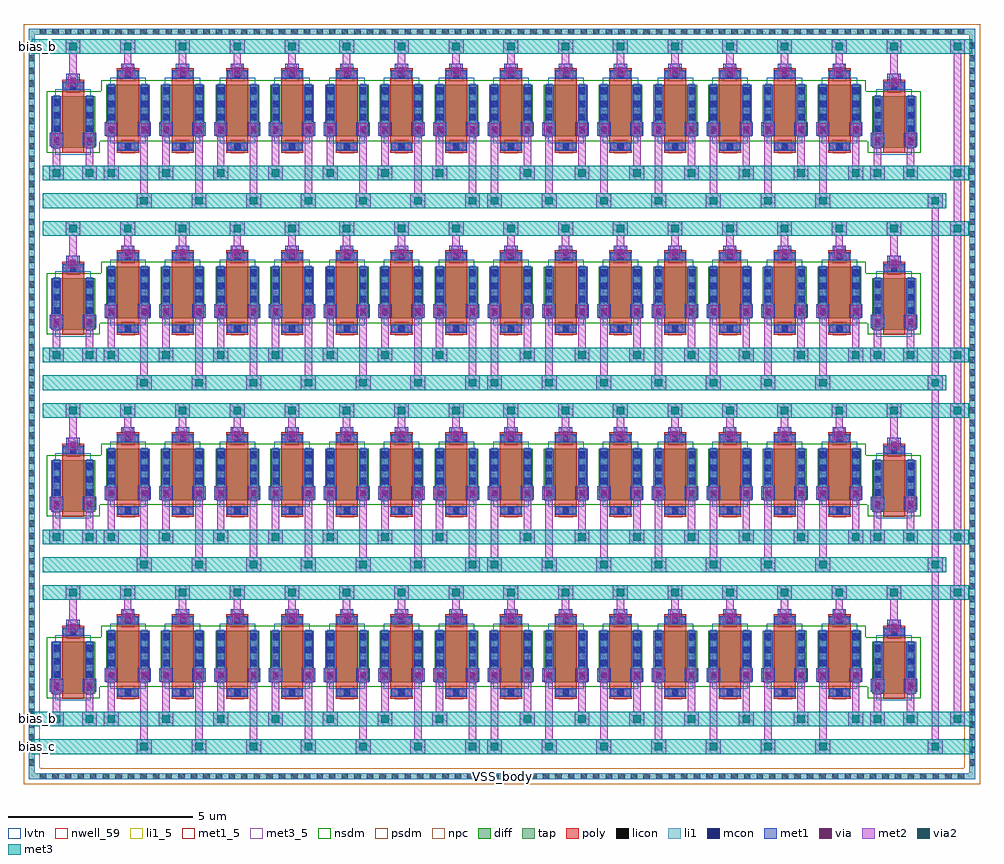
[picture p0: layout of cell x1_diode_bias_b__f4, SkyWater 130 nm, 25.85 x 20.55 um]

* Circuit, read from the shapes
.subckt x1_diode_bias_b__f4 VSS_body bias_b bias_c
XM1 bias_b bias_b bias_b VSS_body sky130_fd_pr__nfet_01v8_lvt w=1.4 l=0.6 m=8
XM2 bias_c bias_b bias_b VSS_body sky130_fd_pr__nfet_01v8_lvt w=1.4 l=0.6 m=56
.ends

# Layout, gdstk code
from math import pi, radians
import gdstk
lib = gdstk.Library(unit=1e-6, precision=1e-09)
def R(c, l, rs):  # rectangles x0, y0, x1, y1
    for r in rs: c.add(gdstk.rectangle(r[:2], r[2:], *l))
def A(c, l, x, y, w, h, nx, ny, dx, dy):  # array of equal rectangles
    R(c, l, [(x+i*dx, y+j*dy, x+i*dx+w, y+j*dy+h) for i in range(nx) for j in range(ny)])
nwell_59 = (64, 59)
diff = (65, 20)
tap = (65, 44)
poly = (66, 20)
licon = (66, 44)
li1_5 = (67, 5)
li1 = (67, 20)
mcon = (67, 44)
met1_5 = (68, 5)
met1 = (68, 20)
via = (68, 44)
met2 = (69, 20)
via2 = (69, 44)
met3_5 = (70, 5)
met3 = (70, 20)
nsdm = (93, 44)
psdm = (94, 20)
npc = (95, 20)
lvtn = (125, 44)

sky130_fd_pr__nfet_01v8_ = lib.new_cell('sky130_fd_pr__nfet_01v8_lvt_RUA5M6')
R(sky130_fd_pr__nfet_01v8_, diff, [(-0.59,-0.855,0.59,0.545)])
R(sky130_fd_pr__nfet_01v8_, poly, [(-0.3,-0.985,0.3,0.985)])
A(sky130_fd_pr__nfet_01v8_, licon, -0.53, -0.75, 0.17, 0.17, 1, 4, 0, 0.34)
A(sky130_fd_pr__nfet_01v8_, licon, 0.36, -0.75, 0.17, 0.17, 1, 4, 0, 0.34)
R(sky130_fd_pr__nfet_01v8_, licon, [(-0.085,0.735,0.085,0.905)])
R(sky130_fd_pr__nfet_01v8_, li1, [(-0.53,-0.875,-0.36,0.565), (0.36,-0.875,0.53,0.565), (-0.3,0.735,0.3,0.905)])
A(sky130_fd_pr__nfet_01v8_, mcon, -0.53, -0.78, 0.17, 0.17, 1, 4, 0, 0.36)
A(sky130_fd_pr__nfet_01v8_, mcon, 0.36, -0.78, 0.17, 0.17, 1, 4, 0, 0.36)
R(sky130_fd_pr__nfet_01v8_, mcon, [(-0.085,0.735,0.085,0.905)])
R(sky130_fd_pr__nfet_01v8_, met1, [(-0.56,-0.855,-0.33,0.545), (0.33,-0.855,0.56,0.545), (-0.28,0.705,0.28,0.935)])
R(sky130_fd_pr__nfet_01v8_, nsdm, [(-0.715,-0.98,0.715,0.67)])
R(sky130_fd_pr__nfet_01v8_, npc, [(-0.185,0.635,0.185,1.005)])
R(sky130_fd_pr__nfet_01v8_, lvtn, [(-0.48,-1.035,0.48,0.725)])
sky130_fd_pr__nfet_01v8_.add(gdstk.Label('D', (-0.445,-0.155), layer=67, texttype=5))
sky130_fd_pr__nfet_01v8_.add(gdstk.Label('S', (0.445,-0.155), layer=67, texttype=5))
sky130_fd_pr__nfet_01v8_.add(gdstk.Label('G', (0,0.82), layer=67, texttype=5))

nfet_01v8_lvt_w1p4_l0p6_ = lib.new_cell('nfet_01v8_lvt_W1p4_L0p6_m8__nf1_gtop_sdfull_ng')
R(nfet_01v8_lvt_w1p4_l0p6_, nwell_59, [(0.05,0.78,0.15,0.88)])
R(nfet_01v8_lvt_w1p4_l0p6_, met1_5, [(0.03,0.83,0.26,1.03), (0.92,0.83,1.15,1.03), (0.31,1.69,0.87,1.92)])
R(nfet_01v8_lvt_w1p4_l0p6_, met1, [(0.03,0.83,0.26,1.03), (0.92,0.83,1.15,1.03), (0.31,1.69,0.87,1.92)])
nfet_01v8_lvt_w1p4_l0p6_.add(gdstk.Reference(sky130_fd_pr__nfet_01v8_, (0.59,0.985)))
nfet_01v8_lvt_w1p4_l0p6_.add(gdstk.Label('D', (0.145,0.93), layer=68, texttype=5))
nfet_01v8_lvt_w1p4_l0p6_.add(gdstk.Label('S', (1.035,0.93), layer=68, texttype=5))
nfet_01v8_lvt_w1p4_l0p6_.add(gdstk.Label('G', (0.59,1.805), layer=68, texttype=5))
nfet_01v8_lvt_w1p4_l0p6_.add(gdstk.Label('B', (0.1,0.83), layer=64, texttype=59))

c_sky130_fd_pr__nfet_01v8_ = lib.new_cell('sky130_fd_pr__nfet_01v8_lvt_KCM6UP')
R(c_sky130_fd_pr__nfet_01v8_, diff, [(-0.59,-0.7,0.59,0.7)])
R(c_sky130_fd_pr__nfet_01v8_, poly, [(-0.3,-1.14,0.3,1.14)])
A(c_sky130_fd_pr__nfet_01v8_, licon, -0.53, -0.595, 0.17, 0.17, 1, 4, 0, 0.34)
A(c_sky130_fd_pr__nfet_01v8_, licon, 0.36, -0.595, 0.17, 0.17, 1, 4, 0, 0.34)
R(c_sky130_fd_pr__nfet_01v8_, licon, [(-0.085,-1.06,0.085,-0.89), (-0.085,0.89,0.085,1.06)])
R(c_sky130_fd_pr__nfet_01v8_, li1, [(-0.3,-1.06,0.3,-0.89), (-0.53,-0.72,-0.36,0.72), (0.36,-0.72,0.53,0.72), (-0.3,0.89,0.3,1.06)])
A(c_sky130_fd_pr__nfet_01v8_, mcon, -0.53, -0.625, 0.17, 0.17, 1, 4, 0, 0.36)
A(c_sky130_fd_pr__nfet_01v8_, mcon, 0.36, -0.625, 0.17, 0.17, 1, 4, 0, 0.36)
R(c_sky130_fd_pr__nfet_01v8_, mcon, [(-0.085,-1.06,0.085,-0.89), (-0.085,0.89,0.085,1.06)])
R(c_sky130_fd_pr__nfet_01v8_, met1, [(-0.28,-1.09,0.28,-0.86), (-0.56,-0.7,-0.33,0.7), (0.33,-0.7,0.56,0.7), (-0.28,0.86,0.28,1.09)])
R(c_sky130_fd_pr__nfet_01v8_, nsdm, [(-0.715,-0.825,0.715,0.825)])
R(c_sky130_fd_pr__nfet_01v8_, npc, [(-0.185,-1.16,0.185,-0.79), (-0.185,0.79,0.185,1.16)])
R(c_sky130_fd_pr__nfet_01v8_, lvtn, [(-0.48,-0.88,0.48,0.88)])
c_sky130_fd_pr__nfet_01v8_.add(gdstk.Label('D', (-0.445,0), layer=67, texttype=5))
c_sky130_fd_pr__nfet_01v8_.add(gdstk.Label('S', (0.445,0), layer=67, texttype=5))
c_sky130_fd_pr__nfet_01v8_.add(gdstk.Label('G', (0,0.975), layer=67, texttype=5))

c_nfet_01v8_lvt_w1p4_l0p6_ = lib.new_cell('nfet_01v8_lvt_W1p4_L0p6_m56__nf1_gboth_sdfull_ng')
R(c_nfet_01v8_lvt_w1p4_l0p6_, nwell_59, [(0.05,1.09,0.15,1.19)])
R(c_nfet_01v8_lvt_w1p4_l0p6_, met1_5, [(0.03,1.14,0.26,1.34), (0.92,1.14,1.15,1.34), (0.31,2,0.87,2.23)])
R(c_nfet_01v8_lvt_w1p4_l0p6_, met1, [(0.03,1.14,0.26,1.34), (0.92,1.14,1.15,1.34), (0.31,2,0.87,2.23)])
c_nfet_01v8_lvt_w1p4_l0p6_.add(gdstk.Reference(c_sky130_fd_pr__nfet_01v8_, (0.59,1.14)))
c_nfet_01v8_lvt_w1p4_l0p6_.add(gdstk.Label('D', (0.145,1.24), layer=68, texttype=5))
c_nfet_01v8_lvt_w1p4_l0p6_.add(gdstk.Label('S', (1.035,1.24), layer=68, texttype=5))
c_nfet_01v8_lvt_w1p4_l0p6_.add(gdstk.Label('G', (0.59,2.115), layer=68, texttype=5))
c_nfet_01v8_lvt_w1p4_l0p6_.add(gdstk.Label('B', (0.1,1.14), layer=64, texttype=59))

x1_diode_bias_b__f4 = lib.new_cell('x1_diode_bias_b__f4')
R(x1_diode_bias_b__f4, tap, [(-0.485,-2.185,25.115,-2.015), (-0.485,-2.015,-0.315,17.945), (24.945,-2.015,25.115,17.945), (-0.485,17.945,25.115,18.115)])
A(x1_diode_bias_b__f4, licon, -0.18, -2.185, 0.17, 0.17, 74, 2, 0.34, 20.13)
A(x1_diode_bias_b__f4, licon, -0.485, -1.81, 0.17, 0.17, 1, 58, 0, 0.34)
A(x1_diode_bias_b__f4, licon, 24.945, -1.81, 0.17, 0.17, 1, 58, 0, 0.34)
R(x1_diode_bias_b__f4, li1_5, [(12.265,-2.15,12.365,-2.05)])
R(x1_diode_bias_b__f4, li1, [(-0.485,-2.185,25.115,-2.015), (-0.485,-2.015,-0.315,17.945), (24.945,-2.015,25.115,17.945), (-0.485,17.945,25.115,18.115)])
A(x1_diode_bias_b__f4, met1, 0.09, 0.18, 0.36, 0.36, 1, 4, 0, 4.92)
A(x1_diode_bias_b__f4, met1, 0.98, 0.18, 0.36, 0.36, 1, 4, 0, 4.92)
A(x1_diode_bias_b__f4, met1, 22.29, 0.18, 0.36, 0.36, 1, 4, 0, 4.92)
A(x1_diode_bias_b__f4, met1, 23.18, 0.18, 0.36, 0.36, 1, 4, 0, 4.92)
A(x1_diode_bias_b__f4, met1, 1.57, 0.46, 0.36, 0.36, 1, 4, 0, 4.92)
A(x1_diode_bias_b__f4, met1, 2.46, 0.46, 0.36, 0.36, 1, 4, 0, 4.92)
A(x1_diode_bias_b__f4, met1, 3.05, 0.46, 0.36, 0.36, 1, 4, 0, 4.92)
A(x1_diode_bias_b__f4, met1, 3.94, 0.46, 0.36, 0.36, 1, 4, 0, 4.92)
A(x1_diode_bias_b__f4, met1, 4.53, 0.46, 0.36, 0.36, 1, 4, 0, 4.92)
A(x1_diode_bias_b__f4, met1, 5.42, 0.46, 0.36, 0.36, 1, 4, 0, 4.92)
A(x1_diode_bias_b__f4, met1, 6.01, 0.46, 0.36, 0.36, 1, 4, 0, 4.92)
A(x1_diode_bias_b__f4, met1, 6.9, 0.46, 0.36, 0.36, 1, 4, 0, 4.92)
A(x1_diode_bias_b__f4, met1, 7.49, 0.46, 0.36, 0.36, 1, 4, 0, 4.92)
A(x1_diode_bias_b__f4, met1, 8.38, 0.46, 0.36, 0.36, 1, 4, 0, 4.92)
A(x1_diode_bias_b__f4, met1, 8.97, 0.46, 0.36, 0.36, 1, 4, 0, 4.92)
A(x1_diode_bias_b__f4, met1, 9.86, 0.46, 0.36, 0.36, 1, 4, 0, 4.92)
A(x1_diode_bias_b__f4, met1, 10.45, 0.46, 0.36, 0.36, 1, 4, 0, 4.92)
A(x1_diode_bias_b__f4, met1, 11.34, 0.46, 0.36, 0.36, 1, 4, 0, 4.92)
A(x1_diode_bias_b__f4, met1, 11.93, 0.46, 0.36, 0.36, 1, 4, 0, 4.92)
A(x1_diode_bias_b__f4, met1, 12.82, 0.46, 0.36, 0.36, 1, 4, 0, 4.92)
A(x1_diode_bias_b__f4, met1, 13.41, 0.46, 0.36, 0.36, 1, 4, 0, 4.92)
A(x1_diode_bias_b__f4, met1, 14.3, 0.46, 0.36, 0.36, 1, 4, 0, 4.92)
A(x1_diode_bias_b__f4, met1, 14.89, 0.46, 0.36, 0.36, 1, 4, 0, 4.92)
A(x1_diode_bias_b__f4, met1, 15.78, 0.46, 0.36, 0.36, 1, 4, 0, 4.92)
A(x1_diode_bias_b__f4, met1, 16.37, 0.46, 0.36, 0.36, 1, 4, 0, 4.92)
A(x1_diode_bias_b__f4, met1, 17.26, 0.46, 0.36, 0.36, 1, 4, 0, 4.92)
A(x1_diode_bias_b__f4, met1, 17.85, 0.46, 0.36, 0.36, 1, 4, 0, 4.92)
A(x1_diode_bias_b__f4, met1, 18.74, 0.46, 0.36, 0.36, 1, 4, 0, 4.92)
A(x1_diode_bias_b__f4, met1, 19.33, 0.46, 0.36, 0.36, 1, 4, 0, 4.92)
A(x1_diode_bias_b__f4, met1, 20.22, 0.46, 0.36, 0.36, 1, 4, 0, 4.92)
A(x1_diode_bias_b__f4, met1, 20.81, 0.46, 0.36, 0.36, 1, 4, 0, 4.92)
A(x1_diode_bias_b__f4, met1, 21.7, 0.46, 0.36, 0.36, 1, 4, 0, 4.92)
A(x1_diode_bias_b__f4, met1, 0.535, 1.77, 0.36, 0.36, 1, 4, 0, 4.92)
A(x1_diode_bias_b__f4, met1, 22.735, 1.77, 0.36, 0.36, 1, 4, 0, 4.92)
A(x1_diode_bias_b__f4, met1, 2.015, 2.05, 0.36, 0.36, 14, 4, 1.48, 4.92)
A(x1_diode_bias_b__f4, via, 0.195, 0.285, 0.15, 0.15, 1, 4, 0, 4.92)
A(x1_diode_bias_b__f4, via, 1.085, 0.285, 0.15, 0.15, 1, 4, 0, 4.92)
A(x1_diode_bias_b__f4, via, 22.395, 0.285, 0.15, 0.15, 1, 4, 0, 4.92)
A(x1_diode_bias_b__f4, via, 23.285, 0.285, 0.15, 0.15, 1, 4, 0, 4.92)
A(x1_diode_bias_b__f4, via, 1.675, 0.565, 0.15, 0.15, 1, 4, 0, 4.92)
A(x1_diode_bias_b__f4, via, 2.565, 0.565, 0.15, 0.15, 1, 4, 0, 4.92)
A(x1_diode_bias_b__f4, via, 3.155, 0.565, 0.15, 0.15, 1, 4, 0, 4.92)
A(x1_diode_bias_b__f4, via, 4.045, 0.565, 0.15, 0.15, 1, 4, 0, 4.92)
A(x1_diode_bias_b__f4, via, 4.635, 0.565, 0.15, 0.15, 1, 4, 0, 4.92)
A(x1_diode_bias_b__f4, via, 5.525, 0.565, 0.15, 0.15, 1, 4, 0, 4.92)
A(x1_diode_bias_b__f4, via, 6.115, 0.565, 0.15, 0.15, 1, 4, 0, 4.92)
A(x1_diode_bias_b__f4, via, 7.005, 0.565, 0.15, 0.15, 1, 4, 0, 4.92)
A(x1_diode_bias_b__f4, via, 7.595, 0.565, 0.15, 0.15, 1, 4, 0, 4.92)
A(x1_diode_bias_b__f4, via, 8.485, 0.565, 0.15, 0.15, 1, 4, 0, 4.92)
A(x1_diode_bias_b__f4, via, 9.075, 0.565, 0.15, 0.15, 1, 4, 0, 4.92)
A(x1_diode_bias_b__f4, via, 9.965, 0.565, 0.15, 0.15, 1, 4, 0, 4.92)
A(x1_diode_bias_b__f4, via, 10.555, 0.565, 0.15, 0.15, 1, 4, 0, 4.92)
A(x1_diode_bias_b__f4, via, 11.445, 0.565, 0.15, 0.15, 1, 4, 0, 4.92)
A(x1_diode_bias_b__f4, via, 12.035, 0.565, 0.15, 0.15, 1, 4, 0, 4.92)
A(x1_diode_bias_b__f4, via, 12.925, 0.565, 0.15, 0.15, 1, 4, 0, 4.92)
A(x1_diode_bias_b__f4, via, 13.515, 0.565, 0.15, 0.15, 1, 4, 0, 4.92)
A(x1_diode_bias_b__f4, via, 14.405, 0.565, 0.15, 0.15, 1, 4, 0, 4.92)
A(x1_diode_bias_b__f4, via, 14.995, 0.565, 0.15, 0.15, 1, 4, 0, 4.92)
A(x1_diode_bias_b__f4, via, 15.885, 0.565, 0.15, 0.15, 1, 4, 0, 4.92)
A(x1_diode_bias_b__f4, via, 16.475, 0.565, 0.15, 0.15, 1, 4, 0, 4.92)
A(x1_diode_bias_b__f4, via, 17.365, 0.565, 0.15, 0.15, 1, 4, 0, 4.92)
A(x1_diode_bias_b__f4, via, 17.955, 0.565, 0.15, 0.15, 1, 4, 0, 4.92)
A(x1_diode_bias_b__f4, via, 18.845, 0.565, 0.15, 0.15, 1, 4, 0, 4.92)
A(x1_diode_bias_b__f4, via, 19.435, 0.565, 0.15, 0.15, 1, 4, 0, 4.92)
A(x1_diode_bias_b__f4, via, 20.325, 0.565, 0.15, 0.15, 1, 4, 0, 4.92)
A(x1_diode_bias_b__f4, via, 20.915, 0.565, 0.15, 0.15, 1, 4, 0, 4.92)
A(x1_diode_bias_b__f4, via, 21.805, 0.565, 0.15, 0.15, 1, 4, 0, 4.92)
A(x1_diode_bias_b__f4, via, 0.64, 1.875, 0.15, 0.15, 1, 4, 0, 4.92)
A(x1_diode_bias_b__f4, via, 22.84, 1.875, 0.15, 0.15, 1, 4, 0, 4.92)
A(x1_diode_bias_b__f4, via, 2.12, 2.155, 0.15, 0.15, 14, 4, 1.48, 4.92)
A(x1_diode_bias_b__f4, met2, 2.44, -1.5, 0.4, 0.4, 7, 4, 1.48, 4.92)
A(x1_diode_bias_b__f4, met2, 11.91, -1.5, 0.4, 0.4, 7, 4, 1.48, 4.92)
A(x1_diode_bias_b__f4, met2, 23.83, -1.5, 0.4, 0.4, 1, 4, 0, 4.92)
A(x1_diode_bias_b__f4, met2, 2.54, -1.1, 0.2, 1.58, 7, 4, 1.48, 4.92)
A(x1_diode_bias_b__f4, met2, 12.01, -1.1, 0.2, 1.58, 7, 4, 1.48, 4.92)
A(x1_diode_bias_b__f4, met2, 23.93, -1.1, 0.2, 4.52, 1, 3, 0, 4.92)
A(x1_diode_bias_b__f4, met2, 0.07, -0.75, 0.4, 0.4, 1, 4, 0, 4.92)
A(x1_diode_bias_b__f4, met2, 0.96, -0.75, 0.4, 0.4, 1, 4, 0, 4.92)
A(x1_diode_bias_b__f4, met2, 1.55, -0.75, 0.4, 0.4, 7, 4, 1.48, 4.92)
A(x1_diode_bias_b__f4, met2, 12.8, -0.75, 0.4, 0.4, 7, 4, 1.48, 4.92)
A(x1_diode_bias_b__f4, met2, 22.27, -0.75, 0.4, 0.4, 1, 4, 0, 4.92)
A(x1_diode_bias_b__f4, met2, 23.16, -0.75, 0.4, 0.4, 1, 4, 0, 4.92)
A(x1_diode_bias_b__f4, met2, 0.17, -0.35, 0.2, 0.55, 1, 4, 0, 4.92)
A(x1_diode_bias_b__f4, met2, 1.06, -0.35, 0.2, 0.55, 1, 4, 0, 4.92)
A(x1_diode_bias_b__f4, met2, 1.65, -0.35, 0.2, 0.83, 7, 4, 1.48, 4.92)
A(x1_diode_bias_b__f4, met2, 12.9, -0.35, 0.2, 0.83, 7, 4, 1.48, 4.92)
A(x1_diode_bias_b__f4, met2, 22.37, -0.35, 0.2, 0.55, 1, 4, 0, 4.92)
A(x1_diode_bias_b__f4, met2, 23.26, -0.35, 0.2, 0.55, 1, 4, 0, 4.92)
A(x1_diode_bias_b__f4, met2, 24.53, -0.35, 0.2, 3.02, 1, 4, 0, 4.92)
A(x1_diode_bias_b__f4, met2, 0.14, 0.2, 0.26, 0.32, 1, 4, 0, 4.92)
A(x1_diode_bias_b__f4, met2, 1.03, 0.2, 0.26, 0.32, 1, 4, 0, 4.92)
A(x1_diode_bias_b__f4, met2, 22.34, 0.2, 0.26, 0.32, 1, 4, 0, 4.92)
A(x1_diode_bias_b__f4, met2, 23.23, 0.2, 0.26, 0.32, 1, 4, 0, 4.92)
A(x1_diode_bias_b__f4, met2, 1.62, 0.48, 0.26, 0.32, 1, 4, 0, 4.92)
A(x1_diode_bias_b__f4, met2, 2.51, 0.48, 0.26, 0.32, 1, 4, 0, 4.92)
A(x1_diode_bias_b__f4, met2, 3.1, 0.48, 0.26, 0.32, 1, 4, 0, 4.92)
A(x1_diode_bias_b__f4, met2, 3.99, 0.48, 0.26, 0.32, 1, 4, 0, 4.92)
A(x1_diode_bias_b__f4, met2, 4.58, 0.48, 0.26, 0.32, 1, 4, 0, 4.92)
A(x1_diode_bias_b__f4, met2, 5.47, 0.48, 0.26, 0.32, 1, 4, 0, 4.92)
A(x1_diode_bias_b__f4, met2, 6.06, 0.48, 0.26, 0.32, 1, 4, 0, 4.92)
A(x1_diode_bias_b__f4, met2, 6.95, 0.48, 0.26, 0.32, 1, 4, 0, 4.92)
A(x1_diode_bias_b__f4, met2, 7.54, 0.48, 0.26, 0.32, 1, 4, 0, 4.92)
A(x1_diode_bias_b__f4, met2, 8.43, 0.48, 0.26, 0.32, 1, 4, 0, 4.92)
A(x1_diode_bias_b__f4, met2, 9.02, 0.48, 0.26, 0.32, 1, 4, 0, 4.92)
A(x1_diode_bias_b__f4, met2, 9.91, 0.48, 0.26, 0.32, 1, 4, 0, 4.92)
A(x1_diode_bias_b__f4, met2, 10.5, 0.48, 0.26, 0.32, 1, 4, 0, 4.92)
A(x1_diode_bias_b__f4, met2, 11.39, 0.48, 0.26, 0.32, 1, 4, 0, 4.92)
A(x1_diode_bias_b__f4, met2, 11.98, 0.48, 0.26, 0.32, 1, 4, 0, 4.92)
A(x1_diode_bias_b__f4, met2, 12.87, 0.48, 0.26, 0.32, 1, 4, 0, 4.92)
A(x1_diode_bias_b__f4, met2, 13.46, 0.48, 0.26, 0.32, 1, 4, 0, 4.92)
A(x1_diode_bias_b__f4, met2, 14.35, 0.48, 0.26, 0.32, 1, 4, 0, 4.92)
A(x1_diode_bias_b__f4, met2, 14.94, 0.48, 0.26, 0.32, 1, 4, 0, 4.92)
A(x1_diode_bias_b__f4, met2, 15.83, 0.48, 0.26, 0.32, 1, 4, 0, 4.92)
A(x1_diode_bias_b__f4, met2, 16.42, 0.48, 0.26, 0.32, 1, 4, 0, 4.92)
A(x1_diode_bias_b__f4, met2, 17.31, 0.48, 0.26, 0.32, 1, 4, 0, 4.92)
A(x1_diode_bias_b__f4, met2, 17.9, 0.48, 0.26, 0.32, 1, 4, 0, 4.92)
A(x1_diode_bias_b__f4, met2, 18.79, 0.48, 0.26, 0.32, 1, 4, 0, 4.92)
A(x1_diode_bias_b__f4, met2, 19.38, 0.48, 0.26, 0.32, 1, 4, 0, 4.92)
A(x1_diode_bias_b__f4, met2, 20.27, 0.48, 0.26, 0.32, 1, 4, 0, 4.92)
A(x1_diode_bias_b__f4, met2, 20.86, 0.48, 0.26, 0.32, 1, 4, 0, 4.92)
A(x1_diode_bias_b__f4, met2, 21.75, 0.48, 0.26, 0.32, 1, 4, 0, 4.92)
A(x1_diode_bias_b__f4, met2, 0.585, 1.79, 0.26, 0.32, 1, 4, 0, 4.92)
A(x1_diode_bias_b__f4, met2, 22.785, 1.79, 0.26, 0.32, 1, 4, 0, 4.92)
A(x1_diode_bias_b__f4, met2, 2.065, 2.07, 0.26, 0.32, 14, 4, 1.48, 4.92)
A(x1_diode_bias_b__f4, met2, 0.615, 2.11, 0.2, 0.56, 1, 4, 0, 4.92)
A(x1_diode_bias_b__f4, met2, 22.815, 2.11, 0.2, 0.56, 1, 4, 0, 4.92)
A(x1_diode_bias_b__f4, met2, 2.095, 2.39, 0.2, 0.28, 14, 4, 1.48, 4.92)
A(x1_diode_bias_b__f4, met2, 0.515, 2.67, 0.4, 0.4, 16, 4, 1.48, 4.92)
A(x1_diode_bias_b__f4, met2, 24.53, 3.07, 0.2, 1.1, 1, 3, 0, 4.92)
R(x1_diode_bias_b__f4, met2, [(24.43,-0.75,24.83,-0.35), (24.43,2.67,24.83,3.07), (24.43,4.17,24.83,4.57), (24.43,7.59,24.83,7.99), (24.43,9.09,24.83,9.49), (24.43,12.51,24.83,12.91), (24.43,14.01,24.83,14.41), (24.43,17.43,24.83,17.83)])
A(x1_diode_bias_b__f4, via2, 2.54, -1.4, 0.2, 0.2, 7, 4, 1.48, 4.92)
A(x1_diode_bias_b__f4, via2, 12.01, -1.4, 0.2, 0.2, 7, 4, 1.48, 4.92)
A(x1_diode_bias_b__f4, via2, 23.93, -1.4, 0.2, 0.2, 1, 4, 0, 4.92)
A(x1_diode_bias_b__f4, via2, 0.17, -0.65, 0.2, 0.2, 1, 4, 0, 4.92)
A(x1_diode_bias_b__f4, via2, 1.06, -0.65, 0.2, 0.2, 1, 4, 0, 4.92)
A(x1_diode_bias_b__f4, via2, 1.65, -0.65, 0.2, 0.2, 7, 4, 1.48, 4.92)
A(x1_diode_bias_b__f4, via2, 12.9, -0.65, 0.2, 0.2, 7, 4, 1.48, 4.92)
A(x1_diode_bias_b__f4, via2, 22.37, -0.65, 0.2, 0.2, 1, 4, 0, 4.92)
A(x1_diode_bias_b__f4, via2, 23.26, -0.65, 0.2, 0.2, 1, 4, 0, 4.92)
A(x1_diode_bias_b__f4, via2, 0.615, 2.77, 0.2, 0.2, 16, 4, 1.48, 4.92)
R(x1_diode_bias_b__f4, via2, [(24.53,-0.65,24.73,-0.45), (24.53,2.77,24.73,2.97), (24.53,4.27,24.73,4.47), (24.53,7.69,24.73,7.89), (24.53,9.19,24.73,9.39), (24.53,12.61,24.73,12.81), (24.53,14.11,24.73,14.31), (24.53,17.53,24.73,17.73)])
R(x1_diode_bias_b__f4, met3_5, [(-0.3,-1.35,-0.2,-1.25), (-0.3,-0.6,-0.2,-0.5), (-0.3,17.58,-0.2,17.68)])
A(x1_diode_bias_b__f4, met3, -0.1, 3.42, 24.43, 0.4, 1, 3, 0, 4.92)
R(x1_diode_bias_b__f4, met3, [(-0.4,-1.5,25.03,-1.1), (-0.4,-0.75,25.03,-0.35), (-0.1,2.67,24.93,3.07), (-0.1,4.17,24.93,4.57), (-0.1,7.59,24.93,7.99), (-0.1,9.09,24.93,9.49), (-0.1,12.51,24.93,12.91), (-0.1,14.01,24.93,14.41), (-0.4,17.43,25.03,17.83)])
A(x1_diode_bias_b__f4, nsdm, 1.435, 0.315, 0.05, 1.34, 1, 4, 0, 4.92)
A(x1_diode_bias_b__f4, nsdm, 2.915, 0.315, 0.05, 1.65, 13, 4, 1.48, 4.92)
A(x1_diode_bias_b__f4, nsdm, 22.155, 0.315, 0.05, 1.34, 1, 4, 0, 4.92)
R(x1_diode_bias_b__f4, psdm, [(-0.61,-2.31,25.24,-1.89), (-0.61,-1.89,-0.19,17.82), (24.82,-1.89,25.24,17.82), (-0.61,17.82,25.24,18.24)])
x1_diode_bias_b__f4.add(gdstk.Reference(nfet_01v8_lvt_w1p4_l0p6_, (22.33,14.76)))
x1_diode_bias_b__f4.add(gdstk.Reference(c_nfet_01v8_lvt_w1p4_l0p6_, (22.03,14.76), rotation=pi, x_reflection=True))
x1_diode_bias_b__f4.add(gdstk.Reference(c_nfet_01v8_lvt_w1p4_l0p6_, (20.55,14.76), rotation=pi, x_reflection=True))
x1_diode_bias_b__f4.add(gdstk.Reference(c_nfet_01v8_lvt_w1p4_l0p6_, (19.07,14.76), rotation=pi, x_reflection=True))
x1_diode_bias_b__f4.add(gdstk.Reference(c_nfet_01v8_lvt_w1p4_l0p6_, (17.59,14.76), rotation=pi, x_reflection=True))
x1_diode_bias_b__f4.add(gdstk.Reference(c_nfet_01v8_lvt_w1p4_l0p6_, (16.11,14.76), rotation=pi, x_reflection=True))
x1_diode_bias_b__f4.add(gdstk.Reference(c_nfet_01v8_lvt_w1p4_l0p6_, (14.63,14.76), rotation=pi, x_reflection=True))
x1_diode_bias_b__f4.add(gdstk.Reference(c_nfet_01v8_lvt_w1p4_l0p6_, (13.15,14.76), rotation=pi, x_reflection=True))
x1_diode_bias_b__f4.add(gdstk.Reference(c_nfet_01v8_lvt_w1p4_l0p6_, (10.49,14.76)))
x1_diode_bias_b__f4.add(gdstk.Reference(c_nfet_01v8_lvt_w1p4_l0p6_, (9.01,14.76)))
x1_diode_bias_b__f4.add(gdstk.Reference(c_nfet_01v8_lvt_w1p4_l0p6_, (7.53,14.76)))
x1_diode_bias_b__f4.add(gdstk.Reference(c_nfet_01v8_lvt_w1p4_l0p6_, (6.05,14.76)))
x1_diode_bias_b__f4.add(gdstk.Reference(c_nfet_01v8_lvt_w1p4_l0p6_, (4.57,14.76)))
x1_diode_bias_b__f4.add(gdstk.Reference(c_nfet_01v8_lvt_w1p4_l0p6_, (3.09,14.76)))
x1_diode_bias_b__f4.add(gdstk.Reference(c_nfet_01v8_lvt_w1p4_l0p6_, (1.61,14.76)))
x1_diode_bias_b__f4.add(gdstk.Reference(nfet_01v8_lvt_w1p4_l0p6_, (0.13,14.76)))
x1_diode_bias_b__f4.add(gdstk.Reference(nfet_01v8_lvt_w1p4_l0p6_, (22.33,9.84)))
x1_diode_bias_b__f4.add(gdstk.Reference(c_nfet_01v8_lvt_w1p4_l0p6_, (22.03,9.84), rotation=pi, x_reflection=True))
x1_diode_bias_b__f4.add(gdstk.Reference(c_nfet_01v8_lvt_w1p4_l0p6_, (20.55,9.84), rotation=pi, x_reflection=True))
x1_diode_bias_b__f4.add(gdstk.Reference(c_nfet_01v8_lvt_w1p4_l0p6_, (19.07,9.84), rotation=pi, x_reflection=True))
x1_diode_bias_b__f4.add(gdstk.Reference(c_nfet_01v8_lvt_w1p4_l0p6_, (17.59,9.84), rotation=pi, x_reflection=True))
x1_diode_bias_b__f4.add(gdstk.Reference(c_nfet_01v8_lvt_w1p4_l0p6_, (16.11,9.84), rotation=pi, x_reflection=True))
x1_diode_bias_b__f4.add(gdstk.Reference(c_nfet_01v8_lvt_w1p4_l0p6_, (14.63,9.84), rotation=pi, x_reflection=True))
x1_diode_bias_b__f4.add(gdstk.Reference(c_nfet_01v8_lvt_w1p4_l0p6_, (13.15,9.84), rotation=pi, x_reflection=True))
x1_diode_bias_b__f4.add(gdstk.Reference(c_nfet_01v8_lvt_w1p4_l0p6_, (10.49,9.84)))
x1_diode_bias_b__f4.add(gdstk.Reference(c_nfet_01v8_lvt_w1p4_l0p6_, (9.01,9.84)))
x1_diode_bias_b__f4.add(gdstk.Reference(c_nfet_01v8_lvt_w1p4_l0p6_, (7.53,9.84)))
x1_diode_bias_b__f4.add(gdstk.Reference(c_nfet_01v8_lvt_w1p4_l0p6_, (6.05,9.84)))
x1_diode_bias_b__f4.add(gdstk.Reference(c_nfet_01v8_lvt_w1p4_l0p6_, (4.57,9.84)))
x1_diode_bias_b__f4.add(gdstk.Reference(c_nfet_01v8_lvt_w1p4_l0p6_, (3.09,9.84)))
x1_diode_bias_b__f4.add(gdstk.Reference(c_nfet_01v8_lvt_w1p4_l0p6_, (1.61,9.84)))
x1_diode_bias_b__f4.add(gdstk.Reference(nfet_01v8_lvt_w1p4_l0p6_, (0.13,9.84)))
x1_diode_bias_b__f4.add(gdstk.Reference(nfet_01v8_lvt_w1p4_l0p6_, (22.33,4.92)))
x1_diode_bias_b__f4.add(gdstk.Reference(c_nfet_01v8_lvt_w1p4_l0p6_, (22.03,4.92), rotation=pi, x_reflection=True))
x1_diode_bias_b__f4.add(gdstk.Reference(c_nfet_01v8_lvt_w1p4_l0p6_, (20.55,4.92), rotation=pi, x_reflection=True))
x1_diode_bias_b__f4.add(gdstk.Reference(c_nfet_01v8_lvt_w1p4_l0p6_, (19.07,4.92), rotation=pi, x_reflection=True))
x1_diode_bias_b__f4.add(gdstk.Reference(c_nfet_01v8_lvt_w1p4_l0p6_, (17.59,4.92), rotation=pi, x_reflection=True))
x1_diode_bias_b__f4.add(gdstk.Reference(c_nfet_01v8_lvt_w1p4_l0p6_, (16.11,4.92), rotation=pi, x_reflection=True))
x1_diode_bias_b__f4.add(gdstk.Reference(c_nfet_01v8_lvt_w1p4_l0p6_, (14.63,4.92), rotation=pi, x_reflection=True))
x1_diode_bias_b__f4.add(gdstk.Reference(c_nfet_01v8_lvt_w1p4_l0p6_, (13.15,4.92), rotation=pi, x_reflection=True))
x1_diode_bias_b__f4.add(gdstk.Reference(c_nfet_01v8_lvt_w1p4_l0p6_, (10.49,4.92)))
x1_diode_bias_b__f4.add(gdstk.Reference(c_nfet_01v8_lvt_w1p4_l0p6_, (9.01,4.92)))
x1_diode_bias_b__f4.add(gdstk.Reference(c_nfet_01v8_lvt_w1p4_l0p6_, (7.53,4.92)))
x1_diode_bias_b__f4.add(gdstk.Reference(c_nfet_01v8_lvt_w1p4_l0p6_, (6.05,4.92)))
x1_diode_bias_b__f4.add(gdstk.Reference(c_nfet_01v8_lvt_w1p4_l0p6_, (4.57,4.92)))
x1_diode_bias_b__f4.add(gdstk.Reference(c_nfet_01v8_lvt_w1p4_l0p6_, (3.09,4.92)))
x1_diode_bias_b__f4.add(gdstk.Reference(c_nfet_01v8_lvt_w1p4_l0p6_, (1.61,4.92)))
x1_diode_bias_b__f4.add(gdstk.Reference(nfet_01v8_lvt_w1p4_l0p6_, (0.13,4.92)))
x1_diode_bias_b__f4.add(gdstk.Reference(nfet_01v8_lvt_w1p4_l0p6_, (22.33,0)))
x1_diode_bias_b__f4.add(gdstk.Reference(c_nfet_01v8_lvt_w1p4_l0p6_, (22.03,0), rotation=pi, x_reflection=True))
x1_diode_bias_b__f4.add(gdstk.Reference(c_nfet_01v8_lvt_w1p4_l0p6_, (20.55,0), rotation=pi, x_reflection=True))
x1_diode_bias_b__f4.add(gdstk.Reference(c_nfet_01v8_lvt_w1p4_l0p6_, (19.07,0), rotation=pi, x_reflection=True))
x1_diode_bias_b__f4.add(gdstk.Reference(c_nfet_01v8_lvt_w1p4_l0p6_, (17.59,0), rotation=pi, x_reflection=True))
x1_diode_bias_b__f4.add(gdstk.Reference(c_nfet_01v8_lvt_w1p4_l0p6_, (16.11,0), rotation=pi, x_reflection=True))
x1_diode_bias_b__f4.add(gdstk.Reference(c_nfet_01v8_lvt_w1p4_l0p6_, (14.63,0), rotation=pi, x_reflection=True))
x1_diode_bias_b__f4.add(gdstk.Reference(c_nfet_01v8_lvt_w1p4_l0p6_, (13.15,0), rotation=pi, x_reflection=True))
x1_diode_bias_b__f4.add(gdstk.Reference(c_nfet_01v8_lvt_w1p4_l0p6_, (10.49,0)))
x1_diode_bias_b__f4.add(gdstk.Reference(c_nfet_01v8_lvt_w1p4_l0p6_, (9.01,0)))
x1_diode_bias_b__f4.add(gdstk.Reference(c_nfet_01v8_lvt_w1p4_l0p6_, (7.53,0)))
x1_diode_bias_b__f4.add(gdstk.Reference(c_nfet_01v8_lvt_w1p4_l0p6_, (6.05,0)))
x1_diode_bias_b__f4.add(gdstk.Reference(c_nfet_01v8_lvt_w1p4_l0p6_, (4.57,0)))
x1_diode_bias_b__f4.add(gdstk.Reference(c_nfet_01v8_lvt_w1p4_l0p6_, (3.09,0)))
x1_diode_bias_b__f4.add(gdstk.Reference(c_nfet_01v8_lvt_w1p4_l0p6_, (1.61,0)))
x1_diode_bias_b__f4.add(gdstk.Reference(nfet_01v8_lvt_w1p4_l0p6_, (0.13,0)))
x1_diode_bias_b__f4.add(gdstk.Label('bias_b', (-0.25,17.63), layer=70, texttype=5))
x1_diode_bias_b__f4.add(gdstk.Label('bias_b', (-0.25,-0.55), layer=70, texttype=5))
x1_diode_bias_b__f4.add(gdstk.Label('bias_c', (-0.25,-1.3), layer=70, texttype=5))
x1_diode_bias_b__f4.add(gdstk.Label('VSS_body', (12.315,-2.1), layer=67, texttype=5))

lib.write_gds('x1_diode_bias_b__f4.gds')
